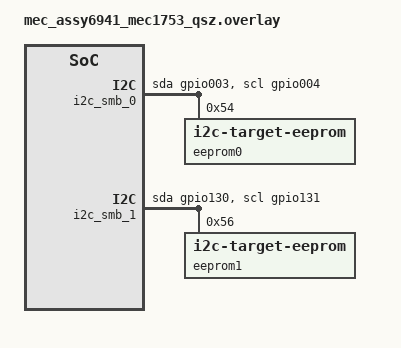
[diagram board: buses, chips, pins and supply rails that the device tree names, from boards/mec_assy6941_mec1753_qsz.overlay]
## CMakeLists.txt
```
# Copyright (c) 2024 Nordic Semiconductor ASA
# SPDX-License-Identifier: Apache-2.0

cmake_minimum_required(VERSION 3.28.0)
find_package(Zephyr REQUIRED HINTS $ENV{ZEPHYR_BASE})
project(i2c_rtio_loopback)

FILE(GLOB app_sources src/*.c)
target_sources(app PRIVATE ${app_sources})
```

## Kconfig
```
# Copyright The Zephyr Project Contributors
# SPDX-License-Identifier: Apache-2.0

mainmenu "I2C RTIO Loopback Test"

config I2C_RTIO_LOOPBACK_DATA_READ_MAX_SIZE
	int "Max data size used for testing I2C read transfers"
	default 2

config I2C_RTIO_LOOPBACK_DATA_WRITE_MAX_SIZE
	int "Max data size used for testing I2C write transfers"
	default 6

source "Kconfig.zephyr"
```

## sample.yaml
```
sample:
  name: I2C RTIO loopback sample
tests:
  sample.drivers.i2c.rtio_loopback:
    tags:
      - rtio
      - i2c_target
    harness: console
    harness_config:
      fixture: i2c_bus_short
      type: one_line
      regex:
        - "sample complete"
    platform_allow:
      - b_u585i_iot02a
      - esp32h2_devkitm
      - esp32s3_devkitc/esp32s3/procpu
      - nrf5340dk/nrf5340/cpuapp
      - nrf54h20dk/nrf54h20/cpuapp
      - nrf54h20dk/nrf54h20/cpuppr
      - nrf54l15dk/nrf54l15/cpuapp
      - nrf54lm20dk/nrf54lm20a/cpuapp
      - nrf54lm20dk/nrf54lm20b/cpuapp
      - nrf7120dk/nrf7120/cpuapp
      - nucleo_f401re
      - nucleo_h503rb
      - ophelia4ev/nrf54l15/cpuapp
```

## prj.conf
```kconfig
# Copyright (c) 2024 Nordic Semiconductor ASA
# SPDX-License-Identifier: Apache-2.0

CONFIG_I2C=y
CONFIG_RTIO=y
CONFIG_I2C_RTIO=y
CONFIG_I2C_TARGET=y
CONFIG_I2C_TARGET_BUFFER_MODE=y
```

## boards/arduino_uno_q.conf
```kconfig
CONFIG_I2C_STM32_INTERRUPT=y
```

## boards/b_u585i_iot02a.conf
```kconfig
# SPDX-FileCopyrightText: Copyright The Zephyr Project Contributors
# SPDX-License-Identifier: Apache-2.0

CONFIG_I2C_STM32_INTERRUPT=y
```

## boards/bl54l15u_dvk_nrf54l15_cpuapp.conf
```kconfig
# Copyright (c) 2024 Nordic Semiconductor ASA
# Copyright (c) 2025 Ezurio LLC
# SPDX-License-Identifier: Apache-2.0

CONFIG_I2C_NRFX_TWIS_BUF_SIZE=256
```

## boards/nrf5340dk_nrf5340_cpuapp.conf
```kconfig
# Copyright (c) 2024 Nordic Semiconductor ASA
# SPDX-License-Identifier: Apache-2.0

CONFIG_I2C_TARGET_BUFFER_MODE=y
```

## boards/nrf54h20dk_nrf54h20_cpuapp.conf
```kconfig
# Copyright (c) 2024 Nordic Semiconductor ASA
# SPDX-License-Identifier: Apache-2.0

CONFIG_I2C_NRFX_TWIS_BUF_SIZE=256
```

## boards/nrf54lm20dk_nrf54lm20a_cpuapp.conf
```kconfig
# Copyright (c) 2025 Nordic Semiconductor ASA
# SPDX-License-Identifier: Apache-2.0

CONFIG_I2C_NRFX_TWIS_BUF_SIZE=256
```

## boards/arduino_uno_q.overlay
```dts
/* SPDX-License-Identifier: Apache-2.0 */

/* One I2C interface (i2c2) is exposed on the SDA/SCL pins from JDIGITAL.
 * The other (i2c4) is on the Qwiiic connector, pins 3 (SCL) and 4 (SDA).
 *
 * Short the same nets together for the test to pass.
 */

/ {
	aliases {
		i2c-controller = &i2c2;
		i2c-controller-target = &i2c4;
	};
};
```

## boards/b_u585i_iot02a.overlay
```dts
/* SPDX-License-Identifier: Apache-2.0 */

/* I2C bus pins are exposed on the STMod+.
 *
 *  Bus        SDA               SCL
 *          Pin   Hdr         Pin   Hdr
 *  i2c1    PB9   CN3:10      PB8  CN3:7
 *  i2c2    PH5   CN2:10      PH4  CN2:7
 *
 * Short Pin PB9 to PH5, and PB8 to PH4, for the test to pass.
 */

/ {
	aliases {
		i2c-controller = &i2c1;
		i2c-controller-target = &i2c2;
	};
};
```

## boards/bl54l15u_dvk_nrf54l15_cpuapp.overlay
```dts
/*
 * Copyright (c) 2024 Nordic Semiconductor ASA
 * Copyright (c) 2025 Ezurio LLC
 *
 * SPDX-License-Identifier: Apache-2.0
 */

/*
 * SDA = P1.8 and P1.9
 * SCL = P1.10 and P1.11
 */

/ {
	aliases {
		i2c-controller = &i2c21;
		i2c-controller-target = &i2c22;
	};
};

&pinctrl {
	i2c21_default: i2c21_default {
		group1 {
			psels = <NRF_PSEL(TWIS_SDA, 1, 8)>,
				<NRF_PSEL(TWIS_SCL, 1, 10)>;
			bias-pull-up;
		};
	};

	i2c21_sleep: i2c21_sleep {
		group1 {
			psels = <NRF_PSEL(TWIS_SDA, 1, 8)>,
				<NRF_PSEL(TWIS_SCL, 1, 10)>;
			low-power-enable;
		};
	};

	i2c22_default: i2c22_default {
		group1 {
			psels = <NRF_PSEL(TWIS_SDA, 1, 9)>,
				<NRF_PSEL(TWIS_SCL, 1, 11)>;
			bias-pull-up;
		};
	};

	i2c22_sleep: i2c22_sleep {
		group1 {
			psels = <NRF_PSEL(TWIS_SDA, 1, 9)>,
				<NRF_PSEL(TWIS_SCL, 1, 11)>;
			low-power-enable;
		};
	};
};

&i2c21 {
	pinctrl-0 = <&i2c21_default>;
	pinctrl-1 = <&i2c21_sleep>;
	pinctrl-names = "default", "sleep";
	zephyr,concat-buf-size = <256>;
	status = "okay";
};

&i2c22 {
	compatible = "nordic,nrf-twis";
	pinctrl-0 = <&i2c22_default>;
	pinctrl-1 = <&i2c22_sleep>;
	pinctrl-names = "default", "sleep";
	status = "okay";
};
```

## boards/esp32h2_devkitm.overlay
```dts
/*
 * Copyright (c) 2026 Espressif Systems (Shanghai) Co., Ltd.
 *
 * SPDX-License-Identifier: Apache-2.0
 *
 * External-loopback overlay for the i2c rtio_loopback sample.
 *
 * Wire up two physical jumpers on the devkit:
 *   GPIO22 (i2c0 SDA) <-> GPIO12 (i2c1 SDA)
 *   GPIO27 (i2c0 SCL) <-> GPIO11 (i2c1 SCL)
 */

/ {
	aliases {
		i2c-controller = &i2c1;
		i2c-controller-target = &i2c0;
	};
};

&pinctrl {
	i2c0_default: i2c0_default {
		group1 {
			pinmux = <I2C0_SDA_GPIO22>,
				 <I2C0_SCL_GPIO27>;
			bias-pull-up;
			drive-open-drain;
			output-high;
		};
	};

	i2c1_default: i2c1_default {
		group1 {
			pinmux = <I2C1_SDA_GPIO12>,
				 <I2C1_SCL_GPIO11>;
			bias-pull-up;
			drive-open-drain;
			output-high;
		};
	};
};

&i2c0 {
	clock-frequency = <I2C_BITRATE_STANDARD>;
	pinctrl-0 = <&i2c0_default>;
	pinctrl-names = "default";
	status = "okay";
};

&i2c1 {
	clock-frequency = <I2C_BITRATE_STANDARD>;
	pinctrl-0 = <&i2c1_default>;
	pinctrl-names = "default";
	status = "okay";
};
```

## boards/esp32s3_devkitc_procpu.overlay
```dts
/*
 * Copyright (c) 2026 Espressif Systems (Shanghai) Co., Ltd.
 *
 * SPDX-License-Identifier: Apache-2.0
 *
 * External-loopback overlay for the i2c rtio_loopback sample.
 *
 * Wire up two physical jumpers on the devkit:
 *   GPIO4 (i2c0 SDA) <-> GPIO6 (i2c1 SDA)
 *   GPIO5 (i2c0 SCL) <-> GPIO7 (i2c1 SCL)
 */

/ {
	aliases {
		i2c-controller = &i2c1;
		i2c-controller-target = &i2c0;
	};
};

&pinctrl {
	i2c0_default: i2c0_default {
		group1 {
			pinmux = <I2C0_SDA_GPIO4>,
				 <I2C0_SCL_GPIO5>;
			bias-pull-up;
			drive-open-drain;
			output-high;
		};
	};

	i2c1_default: i2c1_default {
		group1 {
			pinmux = <I2C1_SDA_GPIO6>,
				 <I2C1_SCL_GPIO7>;
			bias-pull-up;
			drive-open-drain;
			output-high;
		};
	};
};

&i2c0 {
	clock-frequency = <I2C_BITRATE_STANDARD>;
	pinctrl-0 = <&i2c0_default>;
	pinctrl-names = "default";
	status = "okay";
};

&i2c1 {
	clock-frequency = <I2C_BITRATE_STANDARD>;
	pinctrl-0 = <&i2c1_default>;
	pinctrl-names = "default";
	status = "okay";
};
```

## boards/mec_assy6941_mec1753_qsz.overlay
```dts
/*
 * Copyright (c) 2026 Microchip Technology Inc.
 *
 * SPDX-License-Identifier: Apache-2.0
 */

/ {
	aliases {
		i2c-controller = &i2c_smb_0;
		i2c-controller-target = &i2c_smb_1;
	};
};

/*
 * MEC I2C controllers have a HW mux allowing each controller to access any of the port pin pairs.

 * Close JP15 (4-5), (7-8) and JP27 (31-32), (34-35) to mux GPIO004/GPIO003 to I2C00 pins in J12
 * Close JP14 (4-5), (13-14) to mux GPIO131/GPIO130 to I2C01 pins in J13
 * Close JP162 (29-30), (31-32) to add external pull-ups for GPIO130/GPIO131
 * Connect the J12.1 to J13.1 and J12.3 to J13.3 to test the I2C loopback.
 */

&i2c_smb_0 {
	compatible = "microchip,xec-i2c-v2";
	port-sel = <0>;
	sda-gpios = <MCHP_GPIO_DECODE_003 0>;
	scl-gpios = <MCHP_GPIO_DECODE_004 0>;
	pinctrl-0 = <&i2c00_sda_gpio003 &i2c00_scl_gpio004>;
	pinctrl-names = "default";
	status = "okay";

	eeprom0: eeprom@54 {
		compatible = "zephyr,i2c-target-eeprom";
		reg = <0x54>;
		address-width = <16>;
		size = <1024>;
	};
};

&i2c_smb_1 {
	compatible = "microchip,xec-i2c-v2";
	port-sel = <1>;
	sda-gpios = <MCHP_GPIO_DECODE_130 0>;
	scl-gpios = <MCHP_GPIO_DECODE_131 0>;
	pinctrl-0 = <&i2c01_sda_gpio130 &i2c01_scl_gpio131>;
	pinctrl-names = "default";
	status = "okay";

	eeprom1: eeprom@56 {
		compatible = "zephyr,i2c-target-eeprom";
		reg = <0x56>;
		address-width = <16>;
		size = <1024>;
	};
};

/* I2C Port 0 */
&i2c00_sda_gpio003 {
	drive-open-drain;
	output-enable;
	output-high;
	drive-strength = <1>;
};

&i2c00_scl_gpio004 {
	drive-open-drain;
	output-enable;
	output-high;
	drive-strength = <1>;
};

/* I2C Port 1 */
&i2c01_sda_gpio130 {
	drive-open-drain;
	output-enable;
	output-high;
	drive-strength = <1>;
};

&i2c01_scl_gpio131 {
	drive-open-drain;
	output-enable;
	output-high;
	drive-strength = <1>;
};
```

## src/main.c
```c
/*
 * Copyright (c) 2024 Nordic Semiconductor ASA
 *
 * SPDX-License-Identifier: Apache-2.0
 */

#include <zephyr/kernel.h>
#include <zephyr/drivers/i2c.h>
#include <zephyr/rtio/rtio.h>
#include <zephyr/drivers/i2c/rtio.h>

#include <string.h>

#define I2C_CONTROLLER_NODE              DT_ALIAS(i2c_controller)
#define I2C_CONTROLLER_TARGET_NODE       DT_ALIAS(i2c_controller_target)
#define I2C_CONTROLLER_DEVICE_GET        DEVICE_DT_GET(I2C_CONTROLLER_NODE)
#define I2C_CONTROLLER_TARGET_DEVICE_GET DEVICE_DT_GET(I2C_CONTROLLER_TARGET_NODE)
#define I2C_TARGET_ADDR                  0x0A
#define SAMPLE_TIMEOUT                   K_SECONDS(1)
#define I2C_CONTROLLER_DEV_CONFIG        (I2C_SPEED_SET(I2C_SPEED_STANDARD) | I2C_MODE_CONTROLLER)

static const struct device *sample_i2c_controller = I2C_CONTROLLER_DEVICE_GET;
static const struct device *sample_i2c_controller_target = I2C_CONTROLLER_TARGET_DEVICE_GET;

/* Data to write and buffer to store write in */
static uint8_t sample_write_data[CONFIG_I2C_RTIO_LOOPBACK_DATA_WRITE_MAX_SIZE];
static uint8_t sample_write_buf[sizeof(sample_write_data)];
static uint32_t sample_write_buf_pos;

/* Data to read and buffer to store read in */
static uint8_t sample_read_data[CONFIG_I2C_RTIO_LOOPBACK_DATA_READ_MAX_SIZE];
static uint32_t sample_read_data_pos;
static uint8_t sample_read_buf[sizeof(sample_read_data)];

/*
 * The user defines an RTIO context to which actions like writes and reads will be
 * submitted, and the results of said actions will be retrieved.
 *
 * We will be using 3 submission queue events (SQEs); i2c write, i2c read,
 * done callback, and 2 completion queue events (CQEs); i2c write result,
 * i2c read result.
 */
RTIO_DEFINE(sample_rtio, 3, 2);

/*
 * The user defines an RTIO IODEV which wraps the device which will perform the
 * actions submitted to the RTIO context. In this sample, we are using an I2C
 * controller device, so we use the I2C specific helper to define the RTIO IODEV.
 */
I2C_IODEV_DEFINE(sample_rtio_iodev, I2C_CONTROLLER_NODE, I2C_TARGET_ADDR);

/*
 * For async write read operation we will be waiting for a callback from RTIO.
 * We will wait on this sem which we will give from the callback.
 */
static K_SEM_DEFINE(sample_write_read_sem, 0, 1);

/*
 * We register a simple I2C target which we will be targeting using RTIO. We
 * store written data, and return sample_read_data when read.
 */
static int sample_target_write_requested(struct i2c_target_config *target_config)
{
	sample_write_buf_pos = 0;
	return 0;
}

static int sample_target_read_requested(struct i2c_target_config *target_config, uint8_t *val)
{
	sample_read_data_pos = 0;
	*val = sample_read_data[sample_read_data_pos];
	return 0;
}

static int sample_target_write_received(struct i2c_target_config *target_config, uint8_t val)
{
	if (sample_write_buf_pos == sizeof(sample_write_buf)) {
		return -ENOMEM;
	}

	sample_write_buf[sample_write_buf_pos] = val;
	sample_write_buf_pos++;
	return 0;
}

static int sample_target_read_processed(struct i2c_target_config *target_config, uint8_t *val)
{
	sample_read_data_pos++;

	if (sample_read_data_pos == sizeof(sample_read_data)) {
		return -ENOMEM;
	}

	*val = sample_read_data[sample_read_data_pos];
	return 0;
}

#ifdef CONFIG_I2C_TARGET_BUFFER_MODE
static void sample_target_buf_write_received(struct i2c_target_config *target_config,
					     uint8_t *data,
					     uint32_t size)
{
	sample_write_buf_pos = MIN(size, ARRAY_SIZE(sample_write_buf));
	memcpy(sample_write_buf, data, sample_write_buf_pos);
}

static int sample_target_buf_read_requested(struct i2c_target_config *target_config,
					    uint8_t **data,
					    uint32_t *size)
{
	*data = sample_read_data;
	*size = sizeof(sample_read_data);
	return 0;
}
#endif /* CONFIG_I2C_TARGET_BUFFER_MODE */

static int sample_target_stop(struct i2c_target_config *config)
{
	ARG_UNUSED(config);
	return 0;
}

static const struct i2c_target_callbacks sample_target_callbacks = {
	.write_requested = sample_target_write_requested,
	.read_requested = sample_target_read_requested,
	.write_received = sample_target_write_received,
	.read_processed = sample_target_read_processed,
#ifdef CONFIG_I2C_TARGET_BUFFER_MODE
	.buf_write_received = sample_target_buf_write_received,
	.buf_read_requested = sample_target_buf_read_requested,
#endif
	.stop = sample_target_stop,
};

static struct i2c_target_config sample_target_config = {
	.address = I2C_TARGET_ADDR,
	.callbacks = &sample_target_callbacks,
};

static int sample_init_i2c_target(void)
{
	return i2c_target_register(sample_i2c_controller_target, &sample_target_config);
}

static int sample_standard_configure_and_recover(void)
{
	int ret;

	ret = i2c_configure(sample_i2c_controller, I2C_CONTROLLER_DEV_CONFIG);
	if (ret) {
		return ret;
	}

	return i2c_recover_bus(sample_i2c_controller);
}

static void sample_reset_buffers(void)
{
	memset(sample_write_buf, 0, sizeof(sample_write_buf));
	memset(sample_read_buf, 0, sizeof(sample_read_buf));
}

static int sample_standard_write_read(void)
{
	struct i2c_msg msgs[2];

	msgs[0].buf = sample_write_data;
	msgs[0].len = sizeof(sample_write_data);
	msgs[0].flags = I2C_MSG_WRITE;

	msgs[1].buf = sample_read_buf;
	msgs[1].len = sizeof(sample_read_buf);
	msgs[1].flags = I2C_MSG_RESTART | I2C_MSG_READ | I2C_MSG_STOP;

	return i2c_transfer(sample_i2c_controller, msgs, ARRAY_SIZE(msgs), I2C_TARGET_ADDR);
}

static int sample_validate_write_read(void)
{
	int ret;

	if (sample_write_buf_pos != sizeof(sample_write_data)) {
		printk("Posittion error: %zu != %zu\n",
		       sample_write_buf_pos, sizeof(sample_write_data));
		return -EIO;
	}

	ret = memcmp(sample_write_buf, sample_write_data, sizeof(sample_write_data));
	if (ret) {
		for (int n = 0; n < sizeof(sample_write_data); n++) {
			if (sample_write_buf[n] != sample_write_data[n]) {
				printk("Write at offset %u: %02x != %02x\n",
				       n, sample_write_buf[n], sample_write_data[n]);
			}
		}
		return ret;
	}

	ret = memcmp(sample_read_buf, sample_read_data, sizeof(sample_read_data));
	if (ret) {
		for (int n = 0; n < sizeof(sample_read_data); n++) {
			if (sample_read_buf[n] != sample_read_data[n]) {
				printk("Read at offset %u: %02x != %02x\n",
				       n, sample_read_buf[n], sample_read_data[n]);
			}
		}
		return ret;
	}

	return 0;
}

static int sample_rtio_configure_and_recover(void)
{
	struct rtio_sqe *sqe;
	struct rtio_cqe *cqe;
	int ret;

	/*
	 * We allocate one submission queue event (SQE) as defined by RTIO_DEFINE() and configure
	 * it to apply an I2C controller configuration using sample_rtio_iodev.
	 */
	sqe = rtio_sqe_acquire(&sample_rtio);
	rtio_sqe_prep_i2c_configure(sqe,
				    &sample_rtio_iodev,
				    0,
				    I2C_CONTROLLER_DEV_CONFIG,
				    NULL);

	/*
	 * In this case, we don't actually care which submission is handled first, we chain them
	 * to ensure they remain ordered, so when we read the CQEs after they have completed,
	 * we know that the first CQE is the result of the first SQE.
	 */
	sqe->flags |= RTIO_SQE_CHAINED;

	/* We allocate another SQE to recover the I2C controller */
	sqe = rtio_sqe_acquire(&sample_rtio);
	rtio_sqe_prep_i2c_recover(sqe,
				  &sample_rtio_iodev,
				  0,
				  NULL);

	/* Submit the SQEs and await the results (CQEs) */
	rtio_submit(&sample_rtio, 2);

	/* Validate the result of the SQEs, relying on the order they where submitted */
	ret = 0;

	/* This is the result of the i2c configure SQE */
	cqe = rtio_cqe_consume(&sample_rtio);
	if (cqe->result) {
		ret = cqe->result;
	}
	rtio_cqe_release(&sample_rtio, cqe);

	/* This is the result of the i2c recover SQE */
	cqe = rtio_cqe_consume(&sample_rtio);
	if (cqe->result) {
		ret = cqe->result;
	}
	rtio_cqe_release(&sample_rtio, cqe);

	return ret;
}

static int sample_rtio_maybe_configure_write_read(bool do_configure)
{
	struct rtio_sqe *wr_sqe, *rd_sqe;
	struct rtio_cqe *wr_rd_cqe;
	int ret;

	if (do_configure) {
		struct rtio_sqe *sqe;

		/*
		 * We allocate one submission queue event (SQE) as defined by RTIO_DEFINE()
		 * and configure it to apply an I2C controller configuration using
		 * sample_rtio_iodev.
		 */
		sqe = rtio_sqe_acquire(&sample_rtio);
		rtio_sqe_prep_i2c_configure(sqe,
					    &sample_rtio_iodev,
					    0,
					    I2C_CONTROLLER_DEV_CONFIG,
					    NULL);

		/*
		 * In this case, we don't actually care which submission is handled first, we
		 * chain them to ensure they remain ordered, so when we read the CQEs after
		 * they have completed, we know that the first CQE is the result of the first SQE.
		 */
		sqe->flags |= RTIO_SQE_CHAINED;
	}

	/*
	 * We allocate one of the 3 submission queue events (SQEs) as defined by
	 * RTIO_DEFINE() and configure it to write sample_write_data to
	 * sample_rtio_iodev.
	 */
	wr_sqe = rtio_sqe_acquire(&sample_rtio);
	rtio_sqe_prep_write(wr_sqe,
			    &sample_rtio_iodev,
			    0,
			    sample_write_data,
			    sizeof(sample_write_data),
			    NULL);

	/*
	 * This write SQE is followed by a read SQE, which is part of a single
	 * transaction. We configure this by setting the RTIO_SQE_TRANSACTION.
	 */
	wr_sqe->flags |= RTIO_SQE_TRANSACTION;

	/*
	 * We then allocate an SQE and configure it to read
	 * sizeof(sample_read_buf) into sample_read_buf.
	 */
	rd_sqe = rtio_sqe_acquire(&sample_rtio);
	rtio_sqe_prep_read(rd_sqe,
			    &sample_rtio_iodev,
			    0,
			    sample_read_buf,
			    sizeof(sample_read_buf), NULL);

	/*
	 * Since we are working with I2C messages, we need to specify the I2C
	 * message options. The I2C_READ and I2C_WRITE are implicit since we
	 * are preparing read and write SQEs, I2C_STOP and I2C_RESTART are not,
	 * so we add them to the read SQE.
	 */
	rd_sqe->iodev_flags = RTIO_IODEV_I2C_STOP | RTIO_IODEV_I2C_RESTART;

	/*
	 * With the two SQEs of the sample_rtio context prepared, we call
	 * rtio_submit() to have them executed. This call will execute all
	 * prepared SQEs.
	 *
	 * In this case, we wait for the two SQEs to be completed before
	 * continuing, similar to calling i2c_transfer().
	 */
	ret = rtio_submit(&sample_rtio, do_configure ? 3 : 2);
	if (ret) {
		return ret;
	}

	if (do_configure) {
		struct rtio_cqe *cqe;

		/* This is the result of the i2c configure SQE */
		cqe = rtio_cqe_consume(&sample_rtio);
		if (cqe->result) {
			ret = cqe->result;
		}
		rtio_cqe_release(&sample_rtio, cqe);
	}

	/*
	 * Since the RTIO SQEs are executed in the background, we need to
	 * get the CQE after and check its result. Since we configured the
	 * write and read SQEs as a single transaction, only one CQE is
	 * generated which includes both of them. If we had chained them
	 * instead, one CQE would be created for each of them.
	 */
	wr_rd_cqe = rtio_cqe_consume(&sample_rtio);
	if (wr_rd_cqe->result) {
		ret = wr_rd_cqe->result;
	}

	/* Release the CQE after having checked its result. */
	rtio_cqe_release(&sample_rtio, wr_rd_cqe);
	return ret;
}

/* This is functionally identical to sample_standard_write_read() but uses RTIO */
static int sample_rtio_write_read(void)
{
	return sample_rtio_maybe_configure_write_read(false);
}

static int sample_rtio_configure_write_read(void)
{
	return sample_rtio_maybe_configure_write_read(true);
}

static void rtio_write_read_done_callback(struct rtio *r, const struct rtio_sqe *sqe,
					  int result, void *arg0)
{
	struct k_sem *sem = arg0;
	struct rtio_cqe *wr_rd_cqe;

	/* See sample_rtio_write_read() */
	wr_rd_cqe = rtio_cqe_consume(&sample_rtio);
	if (wr_rd_cqe->result) {
		/* Signal write and read SQEs completed with error */
		k_sem_reset(sem);
	}

	/* See sample_rtio_write_read() */
	rtio_cqe_release(&sample_rtio, wr_rd_cqe);

	/* Signal write and read SQEs completed with success */
	k_sem_give(sem);
}

/*
 * Aside from the blocking wait for the sample_write_read_sem, async RTIO
 * can be performed entirely from within ISRs.
 */
static int sample_rtio_write_read_async(void)
{
	struct rtio_sqe *wr_sqe, *rd_sqe, *cb_sqe;
	int ret;

	/* See sample_rtio_write_read() */
	wr_sqe = rtio_sqe_acquire(&sample_rtio);
	rtio_sqe_prep_write(wr_sqe,
			    &sample_rtio_iodev,
			    0,
			    sample_write_data,
			    sizeof(sample_write_data), NULL);
	wr_sqe->flags |= RTIO_SQE_TRANSACTION;

	/* See sample_rtio_write_read() */
	rd_sqe = rtio_sqe_acquire(&sample_rtio);
	rtio_sqe_prep_read(rd_sqe,
			    &sample_rtio_iodev,
			    0,
			    sample_read_buf,
			    sizeof(sample_read_buf), NULL);
	rd_sqe->iodev_flags = RTIO_IODEV_I2C_STOP | RTIO_IODEV_I2C_RESTART;

	/*
	 * The next SQE is a callback which we will use to signal that the
	 * write and read SQEs have completed. It has to be executed only
	 * after the write and read SQEs, which we configure by setting the
	 * RTIO_SQE_CHAINED flag.
	 */
	rd_sqe->flags |= RTIO_SQE_CHAINED;

	/*
	 * Prepare the callback SQE. The SQE allows us to pass an optional
	 * argument to the handler, which we will use to store a pointer to
	 * the binary semaphore we will be waiting on.
	 */
	cb_sqe = rtio_sqe_acquire(&sample_rtio);
	rtio_sqe_prep_callback_no_cqe(cb_sqe,
				      rtio_write_read_done_callback,
				      &sample_write_read_sem,
				      NULL);

	/*
	 * Submit the SQEs for execution, without waiting for any of them
	 * to be completed. We use the callback to signal completion of all
	 * of them.
	 */
	ret = rtio_submit(&sample_rtio, 0);
	if (ret) {
		return ret;
	}

	/*
	 * We wait for the callback which signals RTIO transfer has completed.
	 *
	 * We will be checking the CQE result from within the callback, which
	 * is entirely safe given RTIO is designed to work from ISR context.
	 * If the result is ok, we give the sem, if its not ok, we reset the
	 * sem (which makes k_sem_take() return an error).
	 */
	ret = k_sem_take(&sample_write_read_sem, SAMPLE_TIMEOUT);
	if (ret) {
		return ret;
	}

	return 0;
}

int main(void)
{
	int ret, n;
	bool recover_supported = IS_ENABLED(CONFIG_I2C_BUS_RECOVERY);

	for (n = 0; n < sizeof(sample_write_data); n++) {
		sample_write_data[n] = (0xFF - n) % 0xFF;
	}

	for (n = 0; n < sizeof(sample_read_data); n++) {
		sample_read_data[n] = n % 0xFF;
	}

	printk("%s %s\n", "init_i2c_target", "running");
	ret = sample_init_i2c_target();
	if (ret) {
		printk("%s %s (%d)\n", "init_i2c_target", "failed", ret);
		return 0;
	}

	if (recover_supported) {
		ret = i2c_recover_bus(sample_i2c_controller);
		if (ret == -ENOSYS) {
			printk("%s\n", "I2C bus recovery is not supported");
			recover_supported = false;
			ret = 0;
		}
		if (ret) {
			printk("%s %s (%d)\n", "test recovery support", "failed", ret);
			return 0;
		}
	}

	if (recover_supported) {
		printk("%s %s\n", "standard_configure_and_recover", "running");
		ret = sample_standard_configure_and_recover();
		if (ret) {
			printk("%s %s (%d)\n", "standard_configure_and_recover", "failed", ret);
			return 0;
		}
	}
	sample_reset_buffers();

	printk("%s %s\n", "standard_write_read", "running");
	ret = sample_standard_write_read();
	if (ret) {
		printk("%s %s (%d)\n", "standard_write_read", "failed", ret);
		return 0;
	}

	ret = sample_validate_write_read();
	if (ret) {
		printk("%s %s (%d)\n", "standard_write_read", "corrupted", ret);
		return 0;
	}

	if (recover_supported) {
		printk("%s %s\n", "rtio_configure_recover", "running");
		ret = sample_rtio_configure_and_recover();
		if (ret) {
			printk("%s %s (%d)\n", "rtio_configure_recover", "failed", ret);
			return 0;
		}
	}

	sample_reset_buffers();

	printk("%s %s\n", "rtio_write_read", "running");
	ret = sample_rtio_write_read();
	if (ret) {
		printk("%s %s (%d)\n", "rtio_write_read", "failed", ret);
		return 0;
	}

	ret = sample_validate_write_read();
	if (ret) {
		printk("%s %s (%d)\n", "rtio_write_read", "corrupted", ret);
		return 0;
	}

	sample_reset_buffers();

	printk("%s %s\n", "rtio_configure_write_read", "running");
	ret = sample_rtio_configure_write_read();
	if (ret) {
		printk("%s %s (%d)\n", "rtio_configure_write_read", "failed", ret);
		return 0;
	}

	ret = sample_validate_write_read();
	if (ret) {
		printk("%s %s (%d)\n", "rtio_write_read", "corrupted", ret);
		return 0;
	}

	sample_reset_buffers();

	printk("%s %s\n", "rtio_write_read_async", "running");
	ret = sample_rtio_write_read_async();
	if (ret) {
		printk("%s %s (%d)\n", "rtio_write_read_async", "failed", ret);
		return 0;
	}

	ret = sample_validate_write_read();
	if (ret) {
		printk("%s %s (%d)\n", "rtio_write_read_async", "corrupted", ret);
		return 0;
	}

	printk("sample complete\n");
	return 0;
}
```
